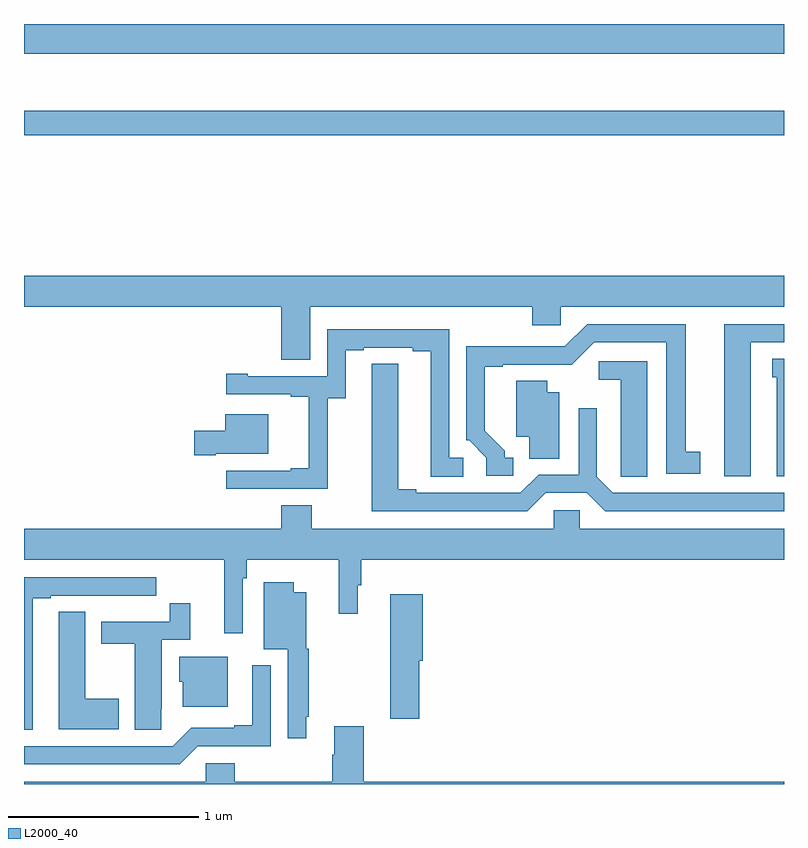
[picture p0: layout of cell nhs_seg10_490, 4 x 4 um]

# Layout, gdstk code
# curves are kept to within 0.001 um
import gdstk
lib = gdstk.Library(unit=1e-6, precision=1e-09)
def R(c, l, rs):  # rectangles x0, y0, x1, y1
    for r in rs: c.add(gdstk.rectangle(r[:2], r[2:], *l))
def P(c, l, *ps):  # polygons
    for p in ps: c.add(gdstk.Polygon(p, *l))
L2000_40 = (2000, 40)

nhs_seg10_490 = lib.new_cell('nhs_seg10_490')
R(nhs_seg10_490, L2000_40, [(135,1271.914,139,1272.043), (135,1272.344,139,1272.5)])
P(nhs_seg10_490, L2000_40, [(136.507,1271.012),(137.675,1271.012),(137.675,1270.914),(137.826,1270.914),(137.826,1271.012),(139,1271.012),(139,1271.176),(135,1271.176),(135,1271.012),(136.355,1271.012),(136.355,1270.732),(136.507,1270.732)],
  [(138.826,1270.824),(139,1270.824),(139,1270.92),(138.686,1270.92),(138.686,1270.119),(138.826,1270.119)],
  [(137.575,1270.218),(137.53,1270.218),(137.53,1270.253),(137.425,1270.358),(137.425,1270.695),(137.521,1270.695),(137.521,1270.707),(137.882,1270.706),(138,1270.824),(138.38,1270.824),(138.38,1270.134),(138.559,1270.134),(138.559,1270.25),(138.484,1270.25),(138.484,1270.92),(137.964,1270.92),(137.847,1270.803),(137.591,1270.803),(137.591,1270.805),(137.328,1270.805),(137.328,1270.308),(137.343,1270.308),(137.433,1270.218),(137.433,1270.122),(137.575,1270.122)],
  [(136.599,1270.531),(136.693,1270.531),(136.693,1270.782),(136.789,1270.782),(136.789,1270.797),(137.045,1270.797),(137.045,1270.777),(137.141,1270.777),(137.141,1270.117),(137.311,1270.117),(137.311,1270.218),(137.238,1270.218),(137.238,1270.893),(136.596,1270.893),(136.596,1270.647),(136.177,1270.647),(136.177,1270.66),(136.065,1270.66),(136.065,1270.551),(136.403,1270.551),(136.403,1270.539),(136.499,1270.539),(136.499,1270.162),(136.403,1270.162),(136.403,1270.149),(136.065,1270.149),(136.065,1270.053),(136.599,1270.053)],
  [(139,1270.739),(138.938,1270.739),(138.938,1270.641),(138.962,1270.641),(138.962,1270.119),(139,1270.119)],
  [(138.28,1270.725),(138.024,1270.725),(138.024,1270.628),(138.14,1270.628),(138.14,1270.225),(138.141,1270.225),(138.141,1270.117),(138.28,1270.117)],
  [(137.745,1270.032),(137.963,1270.032),(138.059,1269.936),(139,1269.936),(139,1270.032),(138.099,1270.032),(138.015,1270.116),(138.015,1270.477),(137.919,1270.477),(137.919,1270.128),(137.709,1270.128),(137.613,1270.032),(137.065,1270.032),(137.065,1270.052),(136.969,1270.052),(136.969,1270.712),(136.83,1270.712),(136.829,1269.936),(137.649,1269.936)],
  [(137.818,1270.561),(137.755,1270.561),(137.755,1270.622),(137.591,1270.622),(137.591,1270.328),(137.66,1270.328),(137.66,1270.213),(137.818,1270.213)],
  [(136.009,1270.238),(136.285,1270.238),(136.285,1270.447),(136.058,1270.447),(136.058,1270.36),(135.897,1270.36),(135.897,1270.231),(136.009,1270.231)],
  [(136.152,1269.584),(136.172,1269.584),(136.172,1269.68),(136.657,1269.68),(136.657,1269.396),(136.756,1269.396),(136.756,1269.546),(136.775,1269.546),(136.775,1269.68),(139,1269.68),(139,1269.844),(137.925,1269.844),(137.925,1269.942),(137.787,1269.942),(137.787,1269.844),(136.515,1269.844),(136.515,1269.968),(136.355,1269.968),(136.355,1269.844),(135,1269.844),(135,1269.68),(136.055,1269.68),(136.055,1269.294),(136.152,1269.294)],
  [(135.046,1269.477),(135.142,1269.477),(135.142,1269.492),(135.418,1269.492),(135.418,1269.491),(135.584,1269.491),(135.584,1269.492),(135.697,1269.492),(135.697,1269.588),(135,1269.588),(135,1268.785),(135.046,1268.785)],
  [(136.486,1268.854),(136.498,1268.854),(136.498,1269.213),(136.486,1269.213),(136.486,1269.508),(136.42,1269.508),(136.42,1269.562),(136.262,1269.562),(136.262,1269.209),(136.389,1269.209),(136.389,1268.742),(136.486,1268.742)],
  [(137.081,1269.15),(137.099,1269.15),(137.099,1269.499),(136.928,1269.499),(136.928,1269.15),(136.927,1269.15),(136.927,1268.844),(137.081,1268.844)],
  [(135.723,1268.896),(135.724,1268.896),(135.724,1269.258),(135.875,1269.258),(135.875,1269.451),(135.766,1269.451),(135.766,1269.354),(135.407,1269.354),(135.407,1269.238),(135.584,1269.238),(135.584,1268.785),(135.723,1268.785)],
  [(135.499,1268.949),(135.322,1268.949),(135.322,1269.407),(135.183,1269.407),(135.183,1269.299),(135.182,1269.299),(135.182,1268.789),(135.499,1268.789)],
  [(136.072,1269.169),(135.818,1269.169),(135.818,1269.039),(135.836,1269.039),(135.836,1268.906),(136.072,1268.906)],
  [(135.915,1268.7),(136.299,1268.7),(136.299,1269.124),(136.202,1269.124),(136.202,1268.809),(136.106,1268.809),(136.106,1268.796),(135.879,1268.796),(135.783,1268.7),(135,1268.7),(135,1268.604),(135.819,1268.604)],
  [(139,1268.512),(136.787,1268.512),(136.787,1268.803),(136.634,1268.803),(136.634,1268.654),(136.622,1268.654),(136.622,1268.512),(136.109,1268.512),(136.109,1268.61),(135.957,1268.61),(135.957,1268.512),(135,1268.512),(135,1268.5),(139,1268.5)])

lib.write_gds('nhs_seg10_490.gds')
